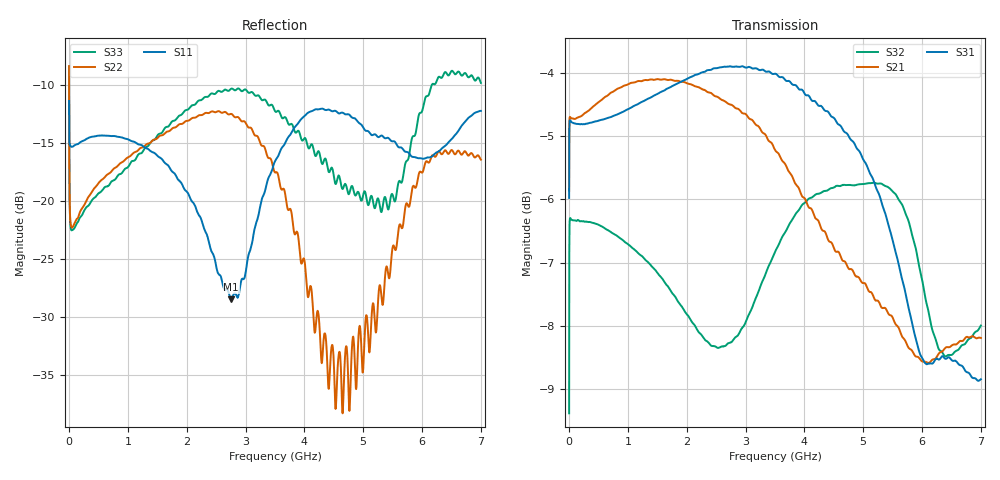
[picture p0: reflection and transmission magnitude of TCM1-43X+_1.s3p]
!Mini-Circuits Laboratory
!S-Parameters
!MODEL: TCM1-43X+
!Run/Lot/Date Code: MHU7710//1246
!DATA FOR: UNIT # 1
!Fixture/SN/Due: TB-654+
!Connection: PORT-1 - pin<3>; PORT-2 - pin<6>; PORT-3- pin<4>
!PORT EXTENSION DONE ON TEST FIXTURE WITH LOSS ON AND MISMATCH ON
!Created: 12-12-2012 at 12:21:19
# MHZ S DB R 50
!Frequency  S11 dB  S11 DEG  S12 dB  S12 DEG  S13 dB  S13 DEG
!  S21 dB  S21 DEG  S22 dB  S22 DEG  S23 dB  S23 DEG
!  S31 dB  S31 DEG  S32 dB  S32 DEG  S33 dB  S33 DEG
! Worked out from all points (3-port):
!   1408 points, 1 MHz to 7 GHz, reference 50 ohm
!   strongest paths, dB at 1 MHz, 1.725 GHz, 3.485 GHz, 5.245 GHz, 7 GHz:
!     S31: -6.0, -4.2, -4.0, -5.9, -8.8
!     S21: -5.9, -4.1, -5.2, -7.6, -8.2
!     S32: -9.4, -7.4, -6.9, -5.7, -8.0
!   lowest |S11| = -28.5 dB at 2.755 GHz (marker M1), VSWR 1.08, Z = 46.5 - j0.901 ohm
!   |S11| at or under -10 dB: start of sweep to end of sweep
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1  -11.41 93.5  -5.85 15.5  -5.95 -164.8
   -5.86 15.4  -8.42 124.1  -9.36 31.5
   -5.98 -164.8  -9.39 31.5  -8.42 125.2
10  -15.13 16.7  -4.70 2.1  -4.75 -178.0
    -4.70 2.1  -19.90 48.0  -6.34 5.6
    -4.76 -178.0  -6.35 5.6  -20.03 49.4
65  -15.33 2.5  -4.71 -1.6  -4.78 177.6
    -4.72 -1.6  -22.24 15.6  -6.33 0.0
    -4.79 177.6  -6.33 0.0  -22.49 16.2
1570  -16.37 -77.1  -4.11 -49.9  -4.29 123.2
      -4.11 -49.9  -14.38 -7.0  -7.25 -10.5
      -4.30 123.2  -7.24 -10.5  -14.18 10.9
2755  -28.48 -165.1  -4.51 -93.9  -3.91 79.7
      -4.50 -94.0  -12.52 -30.5  -8.26 -5.0
      -3.90 79.8  -8.26 -5.1  -10.36 -7.2
3505  -16.56 115.6  -5.23 -124.2  -4.02 52.8
      -5.22 -124.4  -17.57 -44.6  -6.83 -3.8
      -4.01 52.8  -6.82 -3.8  -12.31 -7.4
4650  -12.42 67.8  -6.96 -168.0  -4.89 13.8
      -6.97 -168.2  -38.29 18.2  -5.78 -18.1
      -4.89 13.8  -5.77 -18.2  -18.99 -14.0
5430  -14.61 20.3  -7.81 162.3  -6.41 -12.5
      -7.81 162.0  -26.51 32.4  -5.81 -29.7
      -6.41 -12.3  -5.81 -29.7  -20.73 -39.8
6065  -16.32 12.3  -8.55 141.2  -8.62 -21.9
      -8.57 141.1  -16.63 9.7  -7.63 -40.0
      -8.60 -22.0  -7.60 -40.1  -11.04 -26.7
7000  -12.26 30.3  -8.15 107.7  -8.91 -37.7
      -8.19 107.9  -16.46 -8.3  -7.98 -32.4
      -8.85 -38.1  -8.00 -32.6  -9.86 -57.6
